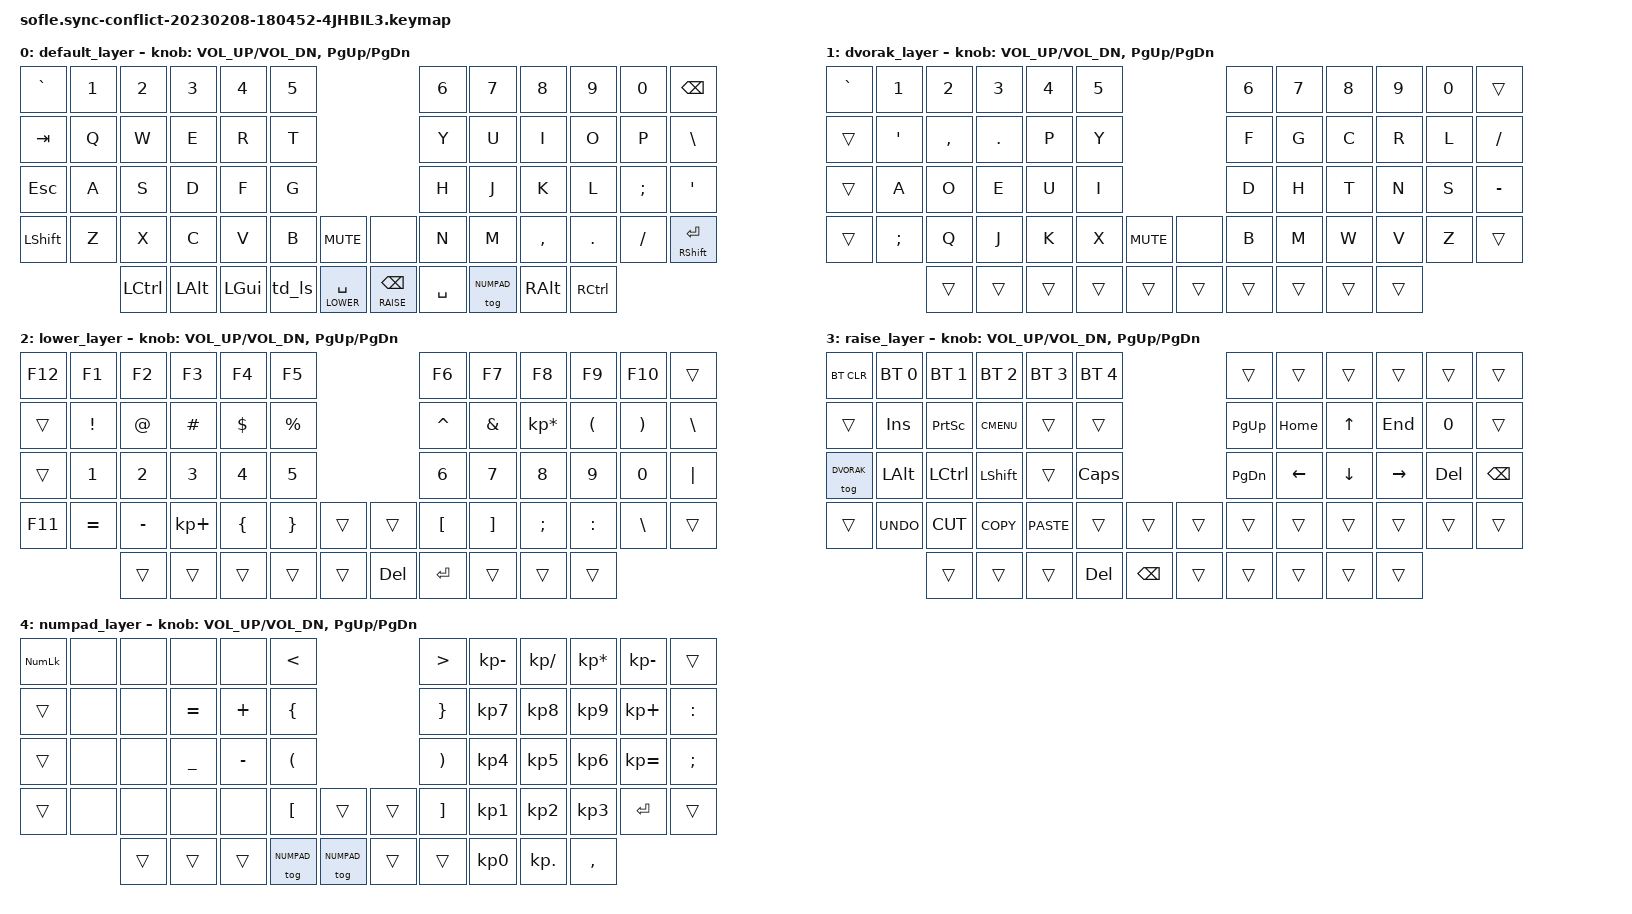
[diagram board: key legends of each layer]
/*
 * Copyright (c) 2020 The ZMK Contributors
 *
 * SPDX-License-Identifier: MIT
 */

#include <behaviors.dtsi>
#include <dt-bindings/zmk/keys.h>
#include <dt-bindings/zmk/bt.h>

#define DEFAULT 0
#define DVORAK  1
#define LOWER   2
#define RAISE   3
#define NUMPAD  4

/ {
    behaviors {
        td_rs: tap_dance_right_space {
            compatible = "zmk,behavior-tap-dance";
            label = "TAP_DANCE_RIGHT_SPACE";
            #binding-cells = <0>;
            tapping-term-ms = <200>;
            bindings = <&kp SPACE>, <&mt RSHFT SPACE>;
        };
        
        td_rr: tap_dance_right_raise{
            compatible = "zmk,behavior-tap-dance";
            label = "TAP_DANCE_RIGHT_RAISE";
            #binding-cells = <0>;
            tapping-term-ms = <200>;
            bindings = <&lt RAISE BSPC>, <&kp BSPC>;
        };
        
        td_ls: tap_dance_left_shift{
            compatible = "zmk,behavior-tap-dance";
            label = "TAP_DANCE_LEFT_SHIFT";
            #binding-cells = <0>;
            tapping-term-ms = <200>;
            bindings = <&kp LSHFT>, <&mo NUMPAD>;
        };
        
        td_ll: tap_dance_left_lower{
            compatible = "zmk,behavior-tap-dance";
            label = "TAP_DANCE_LEFT_LOWER";
            #binding-cells = <0>;
            tapping-term-ms = <200>;
            bindings = <&lt LOWER SPACE>, <&kp SPACE>;
        };
        
    
    };
    
    keymap {
        compatible = "zmk,keymap";

        default_layer {
// ------------------------------------------------------------------------------------------------------------
// |  `    |  1  |  2  |  3   |  4   |  5      |                    |    6      |  7    |  8    |  9   |   0   | BKSPC         |
// |  TAB  |  Q  |  W  |  E   |  R   |  T      |                    |    Y      |  U    |  I    |  O   |   P   |   \           |
// |  ESC  |  A  |  S  |  D   |  F   |  G      |                    |    H      |  J    |  K    |  L   |   ;   |   '           |
// | SHIFT |  Z  |  X  |  C   |  V   |  B      |  MUTE  |  |        |    N      |  M    |  ,    |  .   |   /   | SHIFT & ENTER |
//               | CTRL| ALT  | GUI  |SHFT NUM | LWR SPC|  |RSE BSPC|SPC SHFT   | GUI   | ALT   | CTRL |
            bindings = <
&kp GRAVE &kp N1 &kp N2     &kp N3   &kp N4    &kp N5                             	&kp N6           &kp N7      &kp N8    &kp N9    &kp N0   &kp BSPC
&kp TAB   &kp Q  &kp W      &kp E    &kp R     &kp T                              	&kp Y            &kp U       &kp I     &kp O     &kp P    &kp BSLH
&kp ESC   &kp A  &kp S      &kp D    &kp F     &kp G                              	&kp H            &kp J       &kp K     &kp L     &kp SEMI &kp SQT
&kp LSHFT &kp Z  &kp X      &kp C    &kp V     &kp B    &kp C_MUTE       &none   	&kp N            &kp M       &kp COMMA &kp DOT   &kp FSLH &mt RSHFT RET
                 &kp LCTRL  &kp LALT &kp LGUI  &td_ls   &lt LOWER SPACE  &lt RAISE BSPC &kp SPACE        &tog NUMPAD &kp RALT  &kp RCTRL
            >;
           
            sensor-bindings = <&inc_dec_kp C_VOL_UP C_VOL_DN &inc_dec_kp PG_UP PG_DN>;

        };

        dvorak_layer {
// ------------------------------------------------------------------------------------------------------------
// |  `    |  1  |  2  |  3   |  4   |  5      |                    |    6      |  7    |  8    |  9   |   0   | BKSPC         |
// |  TAB  |  '  |  ,  |  .   |  P   |  Y      |                    |    F      |  G    |  C    |  R   |   L   |   /           |
// |  ESC  |  A  |  O  |  E   |  U   |  I      |                    |    D      |  H    |  T    |  N   |   S   |   -           |
// | SHIFT |  ;  |  Q  |  J   |  K   |  X      |  MUTE  |  |        |    B      |  M    |  W    |  V   |   Z   | SHIFT & ENTER |
//               | CTRL| ALT  | GUI  |SHFT NUM | LWR    |  |RSE BSPC|SPC RET SFT| GUI   | ALT   | CTRL |
            bindings = <
&kp GRAVE &kp N1   &kp N2     &kp N3   &kp N4    &kp N5                             &kp N6   &kp N7      &kp N8    &kp N9    &kp N0   &trans
&trans    &kp SQT  &kp COMMA  &kp DOT  &kp P     &kp Y                              &kp F    &kp G       &kp C     &kp R     &kp L    &kp FSLH
&trans    &kp A    &kp O      &kp E    &kp U     &kp I                              &kp D    &kp H       &kp T     &kp N     &kp S    &kp MINUS
&trans    &kp SEMI &kp Q      &kp J    &kp K     &kp X    &kp C_MUTE       &none    &kp B    &kp M       &kp W     &kp V     &kp Z    &trans
                   &trans     &trans   &trans    &trans   &trans           &trans   &trans   &trans      &trans    &trans
            >;

            sensor-bindings = <&inc_dec_kp C_VOL_UP C_VOL_DN &inc_dec_kp PG_UP PG_DN>;
        };

        lower_layer {
// TODO: Some binds are waiting for shifted keycode support.
// ------------------------------------------------------------------------------------------------------------
// |  F12  |  F1 |  F2 |  F3  |  F4  |  F5  |                   |  F6  |  F7   |  F8   |  F9  |  F10  |       |
// |       |  !  |  @  |  #   |  $   |  %   |                   |  ^   |  &    |  *    |  (   |   )   |   \   |
// |       |   1 |   2 |   3  |   4  |   5  |                   |   6  |   7   |   8   |   9  |    0  |   |   |
// |  F11  |  =  |  -  |  +   |  {   |  }   |        |  |       |  [   |  ]    |  ;    |  :   |   \   |       |
//               |     |      |      |      |        |  | DEL   |ENTER |       |       |      |
            bindings = <
&kp F12  &kp F1    &kp F2    &kp F3      &kp F4    &kp F5                       &kp F6    &kp F7   &kp F8          &kp F9    &kp F10   &trans
&trans   &kp EXCL  &kp AT    &kp HASH    &kp DLLR  &kp PRCNT                    &kp CARET &kp AMPS &kp KP_MULTIPLY &kp LPAR  &kp RPAR  &kp BSLH
&trans   &kp N1    &kp N2    &kp N3      &kp N4    &kp N5                       &kp N6    &kp N7   &kp N8          &kp N9    &kp N0    &kp PIPE
&kp F11  &kp EQUAL &kp MINUS &kp KP_PLUS &kp LBRC  &kp RBRC  &trans   &trans    &kp LBKT  &kp RBKT &kp SEMI        &kp COLON &kp BSLH  &trans
                   &trans    &trans      &trans    &trans    &trans   &kp DEL   &kp RET &trans   &trans          &trans
            >;

            sensor-bindings = <&inc_dec_kp C_VOL_UP C_VOL_DN &inc_dec_kp PG_UP PG_DN>;
        };

        raise_layer {
// ------------------------------------------------------------------------------------------------------------
// |BTCLR |  BT1  | BT2  |  BT3  |  BT4  |  BT5 |                    |      |      |       |      |       |       |
// |      |  INS  | PSCR | GUI   |       |      |                    | PGUP | HOME |   ^   | END  |       |       |
// |DVORAK|  ALT  | CTRL | SHIFT |       | CAPS |                    | PGDN |   <- |   v   |  ->  |  DEL  | BKSPC |
// |      |  UNDO | CUT  | COPY  | PASTE |      |          |  |      |      |      |       |      |       |       |
//                |      |       |       | DEL  | BSPC     |  |      |      |      |       |      |
            bindings = <
&bt BT_CLR  &bt BT_SEL 0 &bt BT_SEL 1 &bt BT_SEL 2 &bt BT_SEL 3 &bt BT_SEL 4                     &trans    &trans    &trans   &trans    &trans   &trans
&trans      &kp INS      &kp PSCRN    &kp K_CMENU  &trans       &trans                           &kp PG_UP &kp HOME  &kp UP   &kp END   &kp N0   &trans
&tog DVORAK &kp LALT     &kp LCTRL    &kp LSHFT    &trans       &kp CLCK                         &kp PG_DN &kp LEFT  &kp DOWN &kp RIGHT &kp DEL  &kp BSPC
&trans      &kp K_UNDO   &kp K_CUT    &kp K_COPY   &kp K_PASTE  &trans       &trans      &trans  &trans    &trans    &trans   &trans    &trans   &trans  
                        &trans       &trans       &trans       &kp DEL      &kp BSPC    &trans  &trans    &trans    &trans   &trans
            >;

            sensor-bindings = <&inc_dec_kp C_VOL_UP C_VOL_DN &inc_dec_kp PG_UP PG_DN>;
        };
        
        numpad_layer {
// ------------------------------------------------------------------------------------------------------------
// |NUMLOCK|     |     |      |      |   <    |                    |  >   |  -    |   /   |   *  |   -   |       |
// |       |     |     |  =   |   +  |   {    |                    |  }   |  7    |   8   |   9  |   +   |   :   |
// |       |     |     |  _   |   -  |   (    |                    |  )   |  4    |   5   |   6  |   =   |   :   |
// |       |     |     |      |      |   [    |        |  |        |  ]   |  1    |   2   |   3  | ENTER |       |
//               |     |      |      |TURN OFF|TURN OFF|  |BSPC LWR|SPCENT|  0    |   .   |   ,  |
            bindings = <
&kp KP_NUM &none    &none    &none     &none     &kp LT                             &kp GT       &kp KP_MINUS   &kp KP_SLASH    &kp KP_MULTIPLY  &kp KP_MINUS  &trans 
&trans     &none    &none    &kp EQUAL &kp PLUS  &kp LBRC                           &kp RBRC     &kp KP_N7      &kp KP_N8       &kp KP_N9        &kp KP_PLUS   &kp COLON
&trans     &none    &none    &kp UNDER &kp MINUS &kp LPAR                           &kp RPAR     &kp KP_N4      &kp KP_N5       &kp KP_N6        &kp KP_EQUAL  &kp SEMI
&trans     &none    &none    &none     &none     &kp LBKT    &trans        &trans   &kp RBKT     &kp KP_N1      &kp KP_N2       &kp KP_N3        &kp RET       &trans 
                    &trans   &trans    &trans    &tog NUMPAD &tog NUMPAD   &trans   &trans       &kp KP_N0      &kp KP_DOT      &kp COMMA
            >;

            sensor-bindings = <&inc_dec_kp C_VOL_UP C_VOL_DN &inc_dec_kp PG_UP PG_DN>;
        };
    };
};
